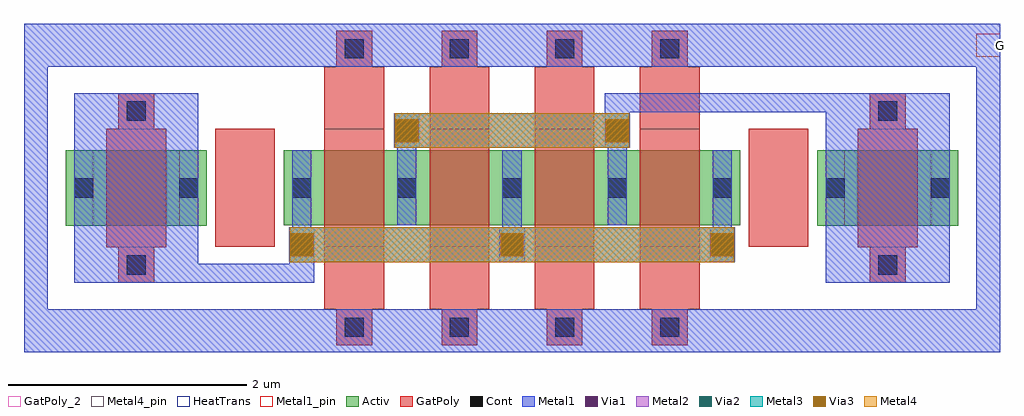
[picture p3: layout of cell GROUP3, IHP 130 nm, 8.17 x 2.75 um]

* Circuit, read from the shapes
.subckt GROUP3 G
XM1 nmos$1_priv1_0/D nmos$1_priv1_0/D nmos$1_priv1_0/D VSUBS sg13_lv_nmos w=0.63u l=0.5u
XM2 nmos$1_priv1_0/S G nmos$1_priv1_0/D VSUBS sg13_lv_nmos w=0.625u l=0.5u m=4
XM3 nmos$1_priv1_0/S nmos$1_priv1_0/S nmos$1_priv1_0/S VSUBS sg13_lv_nmos w=0.63u l=0.5u
.ends

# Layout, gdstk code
import gdstk
lib = gdstk.Library(unit=1e-6, precision=1e-09)
def R(c, l, rs):  # rectangles x0, y0, x1, y1
    for r in rs: c.add(gdstk.rectangle(r[:2], r[2:], *l))
def A(c, l, x, y, w, h, nx, ny, dx, dy):  # array of equal rectangles
    R(c, l, [(x+i*dx, y+j*dy, x+i*dx+w, y+j*dy+h) for i in range(nx) for j in range(ny)])
Activ = (1, 0)
GatPoly = (5, 0)
GatPoly_2 = (5, 2)
Cont = (6, 0)
Metal1 = (8, 0)
Metal1_pin = (8, 2)
Metal2 = (10, 0)
Via1 = (19, 0)
Via2 = (29, 0)
Metal3 = (30, 0)
Via3 = (49, 0)
Metal4 = (50, 0)
Metal4_pin = (50, 2)
HeatTrans = (51, 0)

nmos_1_priv1 = lib.new_cell('nmos$1_priv1')
A(nmos_1_priv1, Activ, 0, 0, 0.3, 0.3, 5, 1, 0.88, 0)
R(nmos_1_priv1, Activ, [(0,0,3.82,0.625)])
A(nmos_1_priv1, GatPoly, 0.44, -1.005, 0.3, 0.3, 4, 2, 0.88, 2.33)
A(nmos_1_priv1, GatPoly, 0.34, -0.705, 0.5, 0.525, 4, 1, 0.88, 0)
A(nmos_1_priv1, GatPoly, 0.34, -0.18, 0.5, 0.985, 4, 1, 0.88, 0)
A(nmos_1_priv1, GatPoly, 0.34, 0.805, 0.5, 0.52, 4, 1, 0.88, 0)
R(nmos_1_priv1, GatPoly_2, [(0.34,-0.18,0.84,0.805)])
A(nmos_1_priv1, Cont, 0.51, -0.935, 0.16, 0.16, 4, 2, 0.88, 2.33)
A(nmos_1_priv1, Cont, 0.07, 0.23, 0.16, 0.16, 5, 1, 0.88, 0)
A(nmos_1_priv1, Metal1, 0.455, -1.065, 0.27, 0.36, 4, 2, 0.88, 2.39)
A(nmos_1_priv1, Metal1, 0.045, -0.31, 0.21, 0.29, 3, 1, 1.76, 0)
A(nmos_1_priv1, Metal1, 0.07, -0.035, 0.16, 0.05, 3, 1, 1.76, 0)
A(nmos_1_priv1, Metal1, 0.07, 0, 0.16, 0.625, 5, 1, 0.88, 0)
R(nmos_1_priv1, Metal1, [(0.95,0.61,1.11,0.66), (2.71,0.61,2.87,0.66), (0.925,0.645,1.135,0.935), (2.685,0.645,2.895,0.935)])
R(nmos_1_priv1, Metal1_pin, [(0.07,0,0.23,0.625), (0.95,0,1.11,0.625)])
A(nmos_1_priv1, Metal2, 0.05, -0.31, 0.2, 0.29, 3, 1, 1.76, 0)
R(nmos_1_priv1, Metal2, [(0.05,-0.31,3.77,-0.02), (0.93,0.645,2.89,0.935), (0.93,0.645,1.13,0.935), (2.69,0.645,2.89,0.935)])
A(nmos_1_priv1, Via1, 0.055, -0.26, 0.19, 0.19, 3, 1, 1.76, 0)
R(nmos_1_priv1, Via1, [(0.935,0.695,1.125,0.885), (2.695,0.695,2.885,0.885)])
A(nmos_1_priv1, Via2, 0.055, -0.26, 0.19, 0.19, 3, 1, 1.76, 0)
R(nmos_1_priv1, Via2, [(0.935,0.695,1.125,0.885), (2.695,0.695,2.885,0.885)])
A(nmos_1_priv1, Metal3, 0.05, -0.31, 0.2, 0.29, 3, 1, 1.76, 0)
R(nmos_1_priv1, Metal3, [(0.05,-0.31,3.77,-0.02), (0.93,0.645,2.89,0.935), (0.93,0.645,1.13,0.935), (2.69,0.645,2.89,0.935)])
A(nmos_1_priv1, Via3, 0.055, -0.26, 0.19, 0.19, 3, 1, 1.76, 0)
R(nmos_1_priv1, Via3, [(0.935,0.695,1.125,0.885), (2.695,0.695,2.885,0.885)])
A(nmos_1_priv1, Metal4, 0.05, -0.31, 0.2, 0.29, 3, 1, 1.76, 0)
R(nmos_1_priv1, Metal4, [(0.05,-0.31,3.77,-0.02), (0.93,0.645,2.89,0.935), (0.93,0.645,1.13,0.935), (2.69,0.645,2.89,0.935)])
R(nmos_1_priv1, Metal4_pin, [(3.575,-0.26,3.765,-0.07), (2.695,0.695,2.885,0.885)])
A(nmos_1_priv1, HeatTrans, 0.34, -0.18, 0.5, 0.985, 4, 1, 0.88, 0)
nmos_1_priv1.add(gdstk.Label('nmos', (0.59,0.313), layer=63, texttype=0))
nmos_1_priv1.add(gdstk.Label('nmos', (0.59,0.313), layer=51, texttype=0))
nmos_1_priv1.add(gdstk.Label('nmos', (1.47,0.313), layer=51, texttype=0))
nmos_1_priv1.add(gdstk.Label('nmos', (2.35,0.313), layer=51, texttype=0))
nmos_1_priv1.add(gdstk.Label('nmos', (3.23,0.313), layer=51, texttype=0))
nmos_1_priv1.add(gdstk.Label('S', (2.79,0.79), layer=50, texttype=0))
nmos_1_priv1.add(gdstk.Label('D', (3.67,-0.165), layer=50, texttype=0))

nmos_3_priv1 = lib.new_cell('nmos$3_priv1')
R(nmos_3_priv1, Activ, [(0,0,0.3,0.3), (0,0,1.18,0.63), (0.88,0,1.18,0.3)])
R(nmos_3_priv1, GatPoly, [(0.44,-0.48,0.74,-0.18), (0.34,-0.18,0.84,0.81), (0.44,0.81,0.74,1.11)])
R(nmos_3_priv1, GatPoly_2, [(0.34,-0.18,0.84,0.81)])
R(nmos_3_priv1, Cont, [(0.51,-0.41,0.67,-0.25), (0.07,0.235,0.23,0.395), (0.95,0.235,1.11,0.395), (0.51,0.88,0.67,1.04)])
R(nmos_3_priv1, Metal1, [(0.07,-0.48,1.11,1.11), (0.07,0,0.23,0.63), (0.95,0,1.11,0.63)])
R(nmos_3_priv1, Metal1_pin, [(0.07,0,0.23,0.63), (0.95,0,1.11,0.63)])
R(nmos_3_priv1, HeatTrans, [(0.34,-0.18,0.84,0.81)])
nmos_3_priv1.add(gdstk.Label('nmos', (0.59,0.315), layer=63, texttype=0))
nmos_3_priv1.add(gdstk.Label('nmos', (0.59,0.315), layer=51, texttype=0))

nmos_3_priv2 = lib.new_cell('nmos$3_priv2')
R(nmos_3_priv2, Activ, [(0,0,0.3,0.3), (0,0,1.18,0.63), (0.88,0,1.18,0.3)])
R(nmos_3_priv2, GatPoly, [(0.44,-0.48,0.74,-0.18), (0.34,-0.18,0.84,0.81), (0.44,0.81,0.74,1.11)])
R(nmos_3_priv2, GatPoly_2, [(0.34,-0.18,0.84,0.81)])
R(nmos_3_priv2, Cont, [(0.51,-0.41,0.67,-0.25), (0.07,0.235,0.23,0.395), (0.95,0.235,1.11,0.395), (0.51,0.88,0.67,1.04)])
R(nmos_3_priv2, Metal1, [(0.07,-0.48,1.11,1.11), (0.07,0,0.23,0.63), (0.95,0,1.11,0.63)])
R(nmos_3_priv2, Metal1_pin, [(0.07,0,0.23,0.63), (0.95,0,1.11,0.63)])
R(nmos_3_priv2, HeatTrans, [(0.34,-0.18,0.84,0.81)])
nmos_3_priv2.add(gdstk.Label('nmos', (0.59,0.315), layer=63, texttype=0))
nmos_3_priv2.add(gdstk.Label('nmos', (0.59,0.315), layer=51, texttype=0))

group3 = lib.new_cell('GROUP3')
R(group3, GatPoly, [(413.635,-141.33,414.135,-140.345), (418.1,-141.33,418.6,-140.345)])
R(group3, Metal1, [(412.035,-142.215,420.205,-141.855), (412.035,-142.215,412.235,-139.465), (420.005,-142.215,420.205,-139.465), (413.495,-141.635,414.465,-141.475), (414.255,-141.475,414.465,-141.17), (416.895,-140.505,417.105,-140.205), (416.895,-140.205,418.745,-140.045), (412.035,-139.825,420.205,-139.465)])
R(group3, Metal1_pin, [(420.005,-139.74,420.205,-139.55)])
group3.add(gdstk.Reference(nmos_1_priv1, (414.21,-141.15)))
group3.add(gdstk.Reference(nmos_3_priv1, (412.385,-141.155)))
group3.add(gdstk.Reference(nmos_3_priv2, (418.675,-141.155)))
group3.add(gdstk.Label('G', (420.205,-139.645), layer=8, texttype=0))

lib.write_gds('GROUP3.gds')
